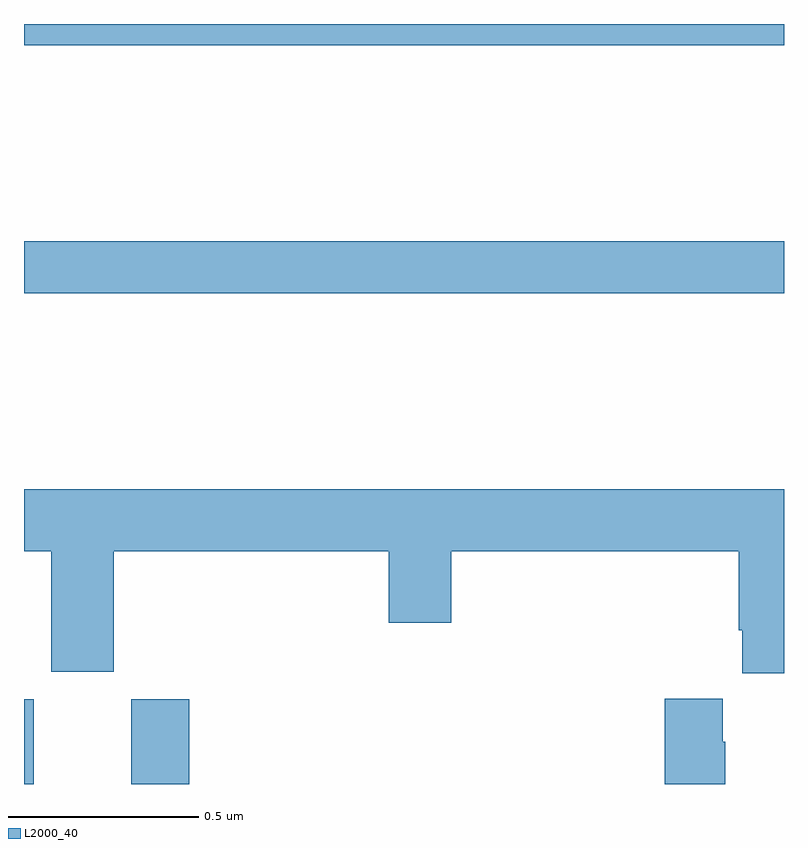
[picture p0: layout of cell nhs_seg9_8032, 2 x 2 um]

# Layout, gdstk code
import gdstk
lib = gdstk.Library(unit=1e-6, precision=1e-09)
def R(c, l, rs):  # rectangles x0, y0, x1, y1
    for r in rs: c.add(gdstk.rectangle(r[:2], r[2:], *l))
def P(c, l, *ps):  # polygons
    for p in ps: c.add(gdstk.Polygon(p, *l))
L2000_40 = (2000, 40)

nhs_seg9_8032 = lib.new_cell('nhs_seg9_8032')
R(nhs_seg9_8032, L2000_40, [(212,1170.5,212.026,1170.723), (212.282,1170.5,212.435,1170.723), (212,1171.792,214,1171.928), (212,1172.444,214,1172.5)])
P(nhs_seg9_8032, L2000_40, [(214,1171.276),(212,1171.276),(212,1171.112),(212.072,1171.112),(212.072,1170.795),(212.236,1170.795),(212.236,1171.112),(212.96,1171.112),(212.96,1170.924),(213.124,1170.924),(213.124,1171.112),(213.881,1171.112),(213.881,1170.904),(213.89,1170.904),(213.89,1170.792),(214,1170.792)],
  [(213.846,1170.611),(213.839,1170.611),(213.839,1170.724),(213.686,1170.724),(213.686,1170.5),(213.846,1170.5)])

lib.write_gds('nhs_seg9_8032.gds')
